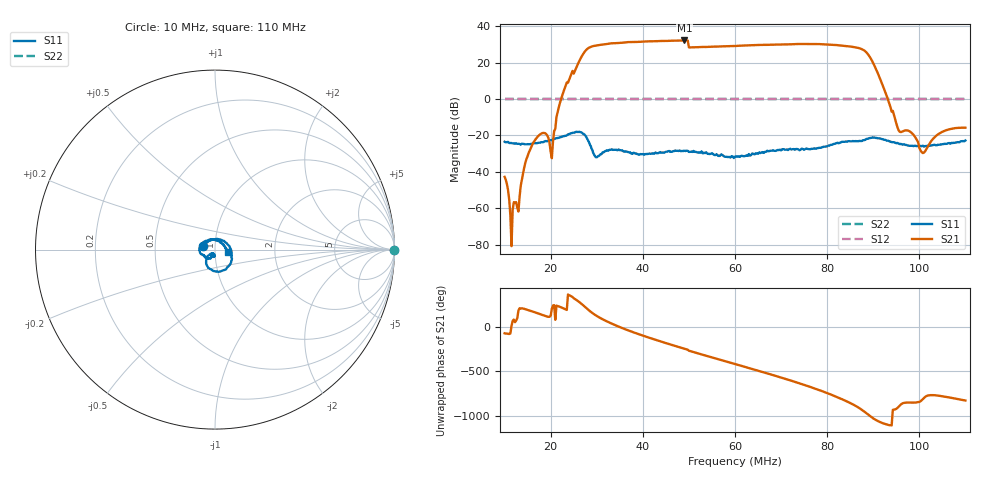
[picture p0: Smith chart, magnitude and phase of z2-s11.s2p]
! Anritsu VNA Master:  Model: MS2034B/10/19/501
! SN:  1337062
! /bd0/ovro-jan-2016/z2-s11.s2p
! Existing Calibration Information:
! TYPE:  Current Settings,  Active Cal Settings
! TIME:  01/08/2016 02:11:57 PM,  01/08/2016 02:08:01 PM
! INTERNAL TEMP:  46.5 C,  46.8 C
! # POINTS:  401,  401
! START FREQ:  10.000 MHz,  10.000 MHz
! STOP FREQ:  110.000 MHz,  110.000 MHz
! SOURCE POWER:  Low,  Low
! IFBW:  100 Hz,  100 Hz
! AVG FACTOR:  1 ,  1
! REF PLANE 1:  0 mm,  0 mm
! REF PLANE 2:  0 mm,  0 mm
! CAL TYPE:  Full S11,  Full S11
! CAL METHOD:  SOLT,  SOLT
! CAL LINE TYPE:  Coax,  Coax
! DUT PORT 1:  K-Conn(M),  K-Conn(M)
! DUT PORT 2:  N-Conn(M),  N-Conn(M)
! CAL STATUS:  OK: Accuracy High,  --
# GHZ S DB R 50.0
! FREQ.GHZ  S11DB  S11A  S21DB  S21A  S12DB  S12A  S22DB  S22A
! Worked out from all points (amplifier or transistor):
!   401 points, 10 MHz to 110 MHz, reference 50 ohm
!   highest |S21| = 32.3 dB at 49 MHz (marker M1)
!   |S21| within 3 dB of that: 60.34 MHz to 83.94 MHz (23.6 MHz wide, 32.7 % of centre) (the widest 1 of 2)
!   unconditionally stable (mu >= 1): nowhere
!   at 26.5 MHz: K = 6.47, MSG = 11.2 dB, |S12| = 0.0 dB
!   at 60 MHz: K = 14.43, MSG = 14.6 dB, |S12| = 0.0 dB
!   at 110 MHz: K = 0.09, MSG = -7.9 dB, |S12| = 0.0 dB
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0.01  -23.47 163.4  -42.79 -67.9  0.00 0.0  0.00 0.0
0.024  -19.22 -31.2  10.67 3.2  0.00 0.0  0.00 0.0
0.02675  -18.47 -94.5  23.59 -97.9  0.00 0.0  0.00 0.0
0.029  -27.89 -137.0  28.99 162.6  0.00 0.0  0.00 0.0
0.0315  -29.25 -91.2  30.08 84.2  0.00 0.0  0.00 0.0
0.03575  -28.66 -110.7  31.07 -13.8  0.00 0.0  0.00 0.0
0.0395  -30.24 -108.3  31.58 -85.6  0.00 0.0  0.00 0.0
0.0435  -29.48 -104.7  31.95 -154.4  0.00 0.0  0.00 0.0
0.049  -28.36 -116.0  32.26 117.4  0.00 0.0  0.00 0.0
0.05475  -30.09 -129.2  28.79 22.8  0.00 0.0  0.00 0.0
0.06  -31.69 -116.0  29.21 -55.8  0.00 0.0  0.00 0.0
0.064  -30.13 -103.9  29.74 -115.6  0.00 0.0  0.00 0.0
0.0685  -28.36 -107.2  29.97 175.2  0.00 0.0  0.00 0.0
0.07325  -27.44 -114.4  30.25 98.6  0.00 0.0  0.00 0.0
0.07675  -27.37 -118.0  30.24 37.7  0.00 0.0  0.00 0.0
0.0795  -26.17 -115.7  30.12 -13.9  0.00 0.0  0.00 0.0
0.08275  -23.99 -127.2  29.56 -82.6  0.00 0.0  0.00 0.0
0.086  -23.17 -148.0  28.54 -163.5  0.00 0.0  0.00 0.0
0.08825  -22.41 -158.8  26.34 118.5  0.00 0.0  0.00 0.0
0.09  -21.17 -179.8  19.76 49.7  0.00 0.0  0.00 0.0
0.0935  -23.20 134.9  -2.62 -27.0  0.00 0.0  0.00 0.0
0.11  -22.76 -12.0  -15.72 -108.3  0.00 0.0  0.00 0.0
